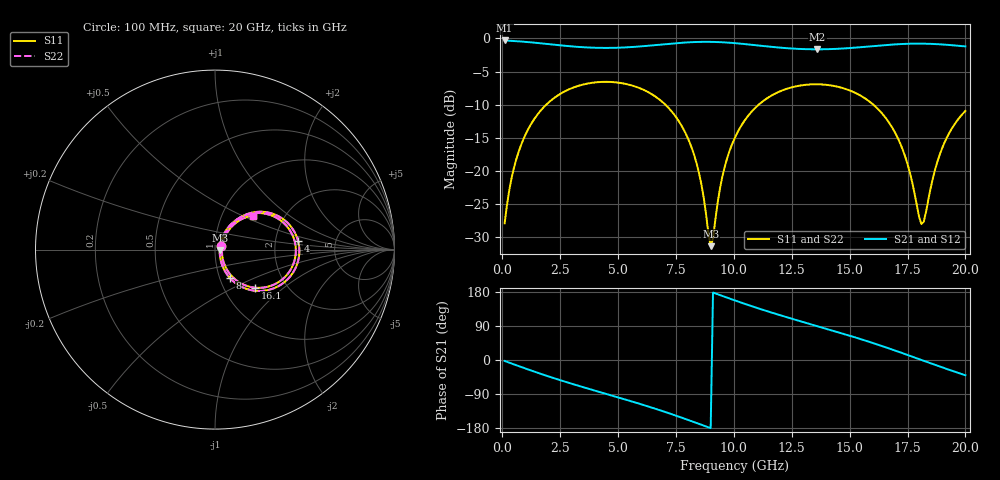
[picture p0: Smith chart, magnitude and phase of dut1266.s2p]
! Touchstone file exported from HFSS 2026.1.0
!  File:  C:/ffzhzh/LocalFiles/Ansys_Project_Files/temp_train_TSV_RDL_1266_1783327935_39728.aedt
!  Generated:  05:15:16 PM Jul  6, 2026
!  Design:  TSV_RDL
!  Project:  temp_train_TSV_RDL_1266_1783327935_39728
! Variables:
!  h_bsmrdl = 3.72um
!  h_ox = 20um
!  h_rdl = 5um
!  h_sub = 74.49um
!  h_tmrdl = 2.99um
!  h_tsv = 74.49um
!  h_via = 3um
!  l_bsmrdl = 932.08um
!  l_sub = 6826.96um
!  l_tmrdl = 866.58um
!  m_sub = 200um
!  pitch = 47.14um
!  r_tsv = 2.49um
!  s_tmrdl = 10um
!  w_bsmrdl = 26.99um
!  w_sub = 500um
!  w_tmrdl = 27.81um
!  x_tsv_center1 = 880.485um
!  x_tsv_center2 = 1839.555um
!  x_tsv_center3 = 2733.945um
!  x_tsv_center4 = 3693.015um
!  x_tsv_center5 = 4587.405um
!  x_tsv_center6 = 5546.475um
# GHz S MA R 50.000000
! Terminal data exported
! Port[1] = TM_RDL1_1_T1
! Port[2] = TM_RDL5_1_T1
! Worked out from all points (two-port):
!   200 points, 100 MHz to 20 GHz, reference 50 ohm
!   highest |S21| = -0.30 dB at 100 MHz (marker M1); lowest = -1.6 dB at 13.6 GHz (marker M2)
!   |S21| within 3 dB of the highest: start of sweep to end of sweep
!   lowest |S11| = -31.4 dB at 9 GHz (marker M3), VSWR 1.06, Z = 52.7 - j0.401 ohm
!   |S11| at or under -10 dB: start of sweep to 1.902 GHz; 7.037 GHz to 11.08 GHz (4.039 GHz wide, 44.6 % of centre); 16.02 GHz to end of sweep
!   |S22| runs from -31.6 to -6.6 dB; largest |S21 - S12| = 3.2e-14
!   S11 on the Smith chart (normalised r, x): 100 MHz: 1.07, +0.04; 4 GHz: 2.69, +0.33; 8 GHz: 1.12, -0.36; 16.1 GHz: 1.39, -0.65; 20 GHz: 1.40, +0.57
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0.1  0.04003 30.0  0.966 -2.4  0.966 -2.4  0.04003 30.0
! Gamma 0 0 0 0
! Port Impedance 50 0 50 0
0.5  0.1045 56.7  0.9564 -11.5  0.9564 -11.5  0.1045 56.7
1.2  0.2187 52.7  0.9362 -26.8  0.9362 -26.8  0.2187 52.7
2.2  0.3507 36.6  0.8985 -47.4  0.8985 -47.4  0.3507 36.6
3.5  0.4489 14.4  0.8583 -71.9  0.8583 -71.9  0.449 14.4
4  0.4652 6.0  0.8507 -80.8  0.8507 -80.8  0.4652 6.0
5.5  0.446 -19.2  0.8595 -107.6  0.8595 -107.6  0.446 -19.3
6.8  0.344 -42.0  0.8978 -132.4  0.8978 -132.4  0.344 -42.1
8  0.1785 -62.2  0.9343 -157.6  0.9343 -157.6  0.1785 -62.4
8.5  0.09539 -65.2  0.942 -168.7  0.942 -168.7  0.09531 -65.5
9  0.02689 -8.1  0.9427 -179.8  0.9427 -179.8  0.02644 -8.4
9.5  0.08954 59.5  0.9361 169.1  0.9361 169.1  0.08936 59.8
10.1  0.1861 56.1  0.9201 156.0  0.9201 156.0  0.186 56.2
11.4  0.3498 34.5  0.8721 129.5  0.8721 129.5  0.3498 34.5
13.4  0.4501 1.1  0.8281 93.0  0.8281 93.0  0.45 1.0
13.6  0.4504 -2.2  0.8278 89.5  0.8278 89.5  0.4504 -2.2
16.1  0.3073 -43.6  0.878 42.9  0.878 42.9  0.3073 -43.7
16.7  0.2315 -52.9  0.8956 30.5  0.8956 30.5  0.2314 -53.1
17.4  0.1279 -59.2  0.9103 15.5  0.9103 15.5  0.1277 -59.5
18.1  0.03949 -8.5  0.9141 0.2  0.9141 0.2  0.03881 -8.7
19  0.1487 54.3  0.9009 -19.5  0.9009 -19.5  0.1484 54.5
20  0.2829 41.9  0.8708 -40.3  0.8708 -40.3  0.2828 41.9
